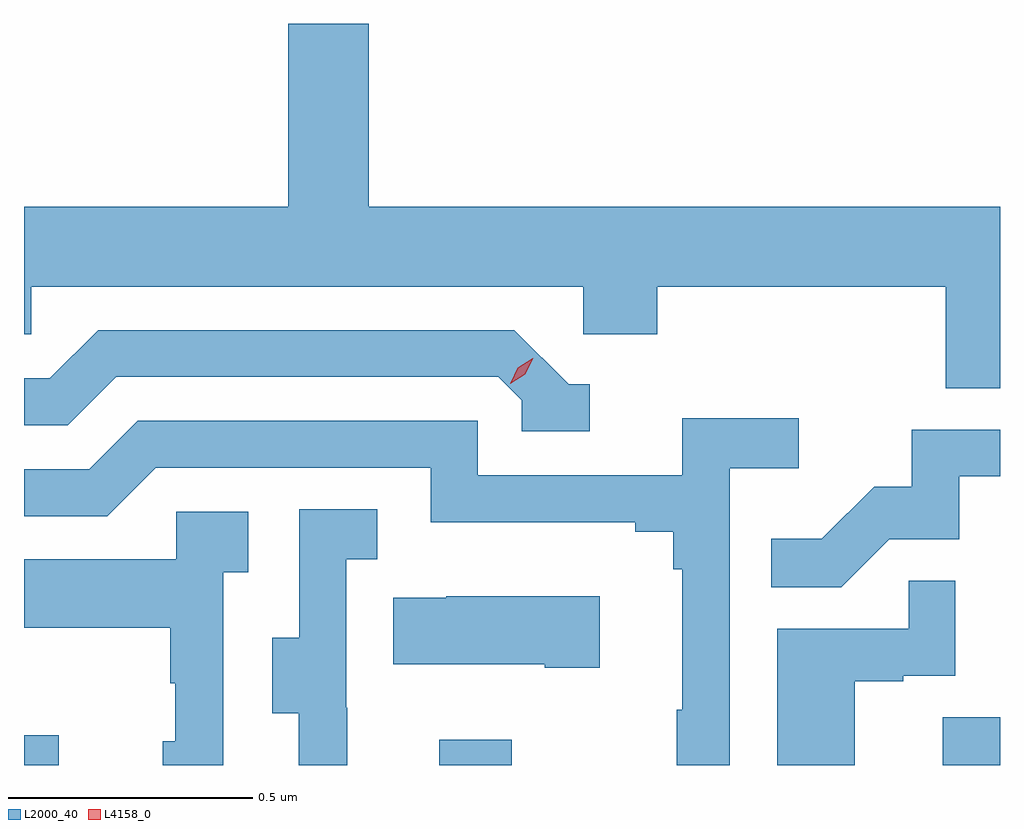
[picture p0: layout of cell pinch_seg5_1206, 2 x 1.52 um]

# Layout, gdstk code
import gdstk
lib = gdstk.Library(unit=1e-6, precision=1e-09)
def R(c, l, rs):  # rectangles x0, y0, x1, y1
    for r in rs: c.add(gdstk.rectangle(r[:2], r[2:], *l))
def P(c, l, *ps):  # polygons
    for p in ps: c.add(gdstk.Polygon(p, *l))
L2000_40 = (2000, 40)
L4158_0 = (4158, 0)

pinch_seg5_1206 = lib.new_cell('pinch_seg5_1206')
R(pinch_seg5_1206, L2000_40, [(835.794,841.127,835.865,841.189), (836.645,841.127,836.793,841.18), (837.677,841.127,837.794,841.226)])
P(pinch_seg5_1206, L2000_40, [(837.794,842.272),(836.5,842.272),(836.5,842.647),(836.336,842.647),(836.336,842.272),(835.794,842.272),(835.794,842.01),(835.809,842.01),(835.809,842.108),(836.94,842.108),(836.94,842.01),(837.092,842.01),(837.092,842.108),(837.683,842.108),(837.683,841.9),(837.794,841.9)],
  [(836.953,841.908),(836.91,841.908),(836.799,842.019),(835.946,842.019),(835.847,841.92),(835.794,841.92),(835.794,841.824),(835.884,841.824),(835.983,841.923),(836.766,841.923),(836.814,841.875),(836.814,841.812),(836.953,841.812)],
  [(837.24,841.736),(837.382,841.736),(837.382,841.838),(837.143,841.838),(837.143,841.722),(836.724,841.722),(836.724,841.833),(836.027,841.833),(835.928,841.734),(835.794,841.734),(835.794,841.638),(835.965,841.638),(836.064,841.737),(836.628,841.737),(836.628,841.625),(837.047,841.625),(837.047,841.606),(837.124,841.606),(837.124,841.529),(837.143,841.529),(837.143,841.241),(837.132,841.241),(837.132,841.127),(837.24,841.127)],
  [(837.567,841.59),(837.711,841.59),(837.711,841.719),(837.794,841.719),(837.794,841.815),(837.613,841.815),(837.613,841.698),(837.536,841.698),(837.429,841.591),(837.325,841.591),(837.325,841.492),(837.469,841.492)],
  [(836.456,841.245),(836.454,841.245),(836.454,841.549),(836.518,841.549),(836.518,841.652),(836.358,841.652),(836.358,841.389),(836.303,841.389),(836.303,841.234),(836.357,841.234),(836.357,841.127),(836.456,841.127)],
  [(836.202,841.523),(836.254,841.523),(836.254,841.647),(836.106,841.647),(836.106,841.549),(835.794,841.549),(835.794,841.409),(836.094,841.409),(836.094,841.295),(836.104,841.295),(836.104,841.176),(836.078,841.176),(836.078,841.127),(836.202,841.127)],
  [(837.496,841.299),(837.596,841.299),(837.596,841.311),(837.702,841.311),(837.702,841.505),(837.607,841.505),(837.607,841.407),(837.338,841.407),(837.338,841.127),(837.496,841.127)],
  [(836.974,841.474),(836.659,841.474),(836.659,841.471),(836.551,841.471),(836.551,841.334),(836.861,841.334),(836.861,841.327),(836.974,841.327)])
P(pinch_seg5_1206, L4158_0, [(836.79,841.909),(836.79,841.909),(836.806,841.942),(836.837,841.961),(836.838,841.961),(836.838,841.961),(836.821,841.928),(836.79,841.909)])

lib.write_gds('pinch_seg5_1206.gds')
